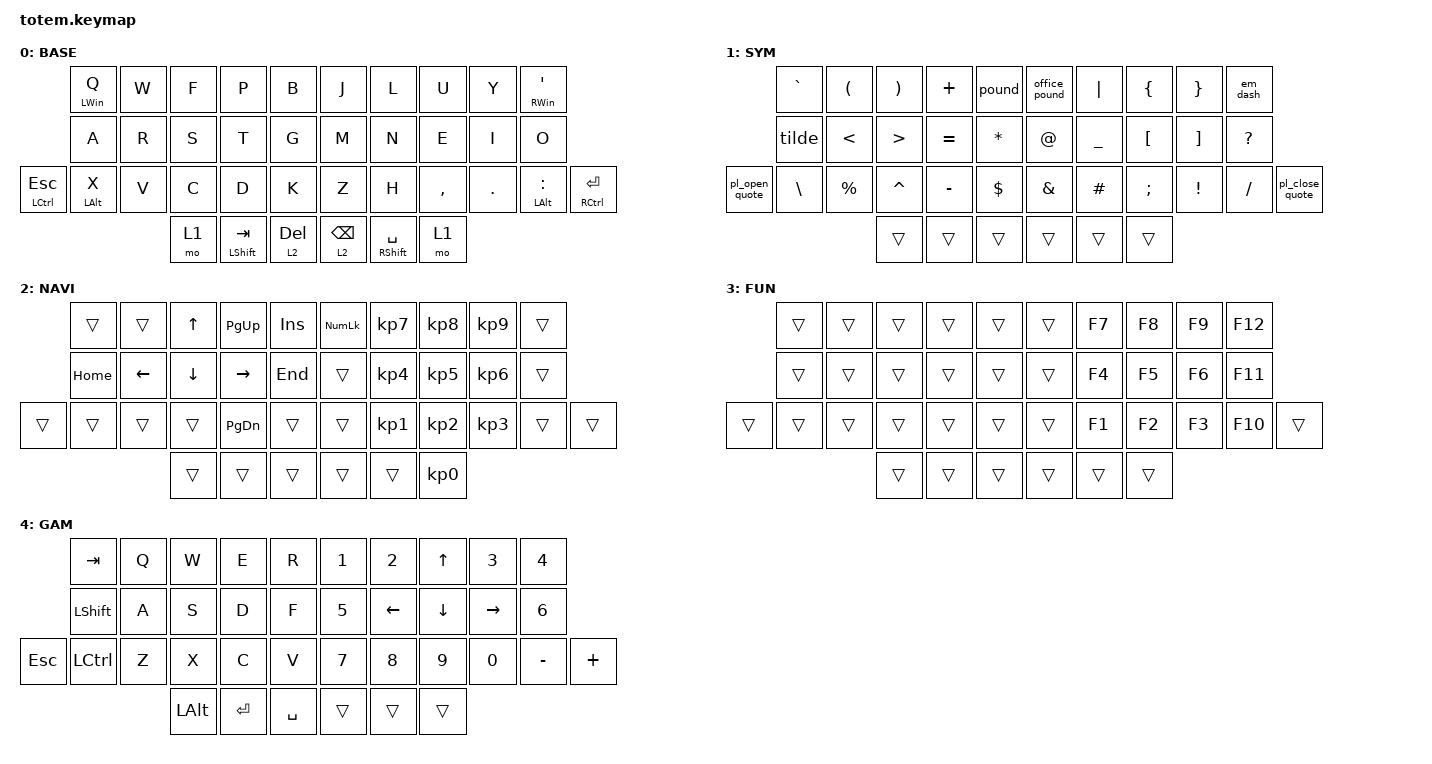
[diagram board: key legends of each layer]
//
//                                                        ▀▀▀▀▀     ▀▀▀▀▀          ▀▀█▀▀
//                                                        ▄▀▀▀▄  ▄  ▄▀▀▀▄  ▄  ▄▀▀▀▄  █  ▄▀▀▀▄
//                                                        █   █  █  █   █  █  █   █  █  █   █
//                                                         ▀▀▀   █   ▀▀▀   █   ▀▀▀   ▀   ▀▀▀
//                                                               █      ▄▄▄█▄▄▄    █   █  
//                                                               ▀      █  █  █     █▄█
//                                                             ▀▀▀▀▀    █  █  █      ▀
//                                                                      ▀  ▀  ▀
//
// ▄▄▄▄▄▄▄▄▄▄▄▄▄▄▄▄▄▄▄▄▄▄▄▄▄▄▄▄▄▄▄▄▄▄▄▄▄▄▄▄▄▄▄▄▄▄▄▄▄▄▄▄▄▄▄▄▄▄▄▄▄▄▄▄▄▄▄▄▄▄▄▄▄▄▄▄▄▄▄▄▄▄▄▄▄▄▄▄▄▄▄▄▄▄▄▄▄▄▄▄▄▄▄▄▄▄▄▄▄▄▄▄▄▄▄▄▄▄▄▄▄▄▄▄▄▄▄▄▄▄▄▄▄▄▄▄▄▄▄▄▄▄▄▄▄▄▄▄▄

#include <behaviors.dtsi>
#include <dt-bindings/zmk/keys.h>

#define BASE 0
#define NAV  1
#define SYM  2
#define ADJ  3

&mt {
    quick-tap-ms = <100>;
    global-quick-tap;
    flavor = "tap-preferred";
    tapping-term-ms = <170>;
};

/ {
    combos {
        compatible = "zmk,combos";

        combo_open_inner {
            bindings = <&pl_open_inner>;
            key-positions = <20 10>;
        };

        combo_perm_nav {
            bindings = <&tog 2>;
            key-positions = <20 21>;
            layers = <2 0 4>;
        };

        combo_print_screen {
            bindings = <&kp PRINTSCREEN>;
            key-positions = <0 1>;
        };

        combo_comment {
            bindings = <&start_com>;
            key-positions = <10 11>;
        };

        combo_end_com {
            bindings = <&end_com>;
            key-positions = <21 22>;
        };

        combo_pl_a {
            bindings = <&kp RA(A)>;
            key-positions = <1 2>;
        };

        combo_pl_z {
            bindings = <&kp RA(Z)>;
            key-positions = <11 12>;
        };

        combo_pl_x {
            bindings = <&kp RA(X)>;
            key-positions = <22 23>;
        };

        combo_f2 {
            key-positions = <2 3>;
            bindings = <&kp F2>;
        };

        combo_pl_s {
            bindings = <&kp RA(S)>;
            key-positions = <12 13>;
        };

        combo_pl_c {
            bindings = <&kp RA(C)>;
            key-positions = <23 24>;
        };

        combo_undo {
            bindings = <&kp LC(Z)>;
            key-positions = <4 3>;
        };

        combo_cut {
            bindings = <&kp LC(X)>;
            key-positions = <13 14>;
        };

        combo_copy {
            bindings = <&kp LC(C)>;
            key-positions = <24 25>;
        };

        combo_paste {
            bindings = <&kp RC(V)>;
            key-positions = <33 32>;
        };

        game_combo {
            bindings = <&tog 4>;
            key-positions = <34 33>;
        };

        combo_redo {
            bindings = <&kp LC(Y)>;
            key-positions = <5 6>;
        };

        combo_vol_up {
            bindings = <&kp C_VOL_UP>;
            key-positions = <15 16>;
        };

        combo_vol_down {
            bindings = <&kp C_VOL_DN>;
            key-positions = <26 27>;
        };

        combo_caps_lock {
            bindings = <&kp CAPS>;
            key-positions = <36 35>;
        };

        combo_pl_l {
            bindings = <&kp RA(L)>;
            key-positions = <17 16>;
        };

        combo_pl_n {
            bindings = <&kp RA(N)>;
            key-positions = <28 27>;
            layers = <0>;
        };

        combo_nav_comma {
            bindings = <&kp COMMA>;
            key-positions = <28 27>;
            layers = <2>;
        };

        combo_pl_e {
            bindings = <&kp RA(E)>;
            key-positions = <7 8>;
        };

        combo_pl_o {
            bindings = <&kp RA(O)>;
            key-positions = <17 18>;
        };

        combo_dots {
            bindings = <&pl_dots>;
            key-positions = <28 29>;
            layers = <0>;
        };

        combo_nav_dot {
            bindings = <&kp PERIOD>;
            key-positions = <28 29>;
            layers = <2>;
        };

        combo_play {
            bindings = <&kp C_PLAY>;
            key-positions = <31 30>;
            layers = <0 4 2>;
        };

        combo_prev {
            bindings = <&kp C_PREV>;
            key-positions = <28 29>;
            layers = <0 4>;
        };

        combo_next {
            bindings = <&kp C_NEXT>;
            key-positions = <29 30>;
        };

        combo_close_inner {
            bindings = <&pl_close_inner>;
            key-positions = <31 19>;
        };

        combo_caps_word {
            bindings = <&caps_word>;
            key-positions = <33 36>;
        };
    };

    macros {
        em_dash: em_dash {
            compatible = "zmk,behavior-macro";
            #binding-cells = <0>;
            bindings =
                <&macro_press>,
                <&kp LEFT_ALT>,
                <&macro_tap>,
                <&kp KP_NUMBER_0 &kp KP_NUMBER_1 &kp KP_NUMBER_5 &kp KP_NUMBER_1>,
                <&macro_release>,
                <&kp LEFT_ALT>;

            label = "EM_DASH";
        };

        pound: the_pound {
            compatible = "zmk,behavior-macro";
            #binding-cells = <0>;
            bindings =
                <&macro_press>,
                <&kp LEFT_ALT>,
                <&macro_tap>,
                <&kp KP_NUMBER_1 &kp KP_NUMBER_5 &kp KP_NUMBER_6>,
                <&macro_release>,
                <&kp LEFT_ALT>;

            label = "THE_POUND";
        };

        tilde: tilde {
            compatible = "zmk,behavior-macro";
            #binding-cells = <0>;
            bindings = <&kp TILDE &kp SPACE>;
            label = "TILDE";
        };

        start_com: start_com {
            compatible = "zmk,behavior-macro";
            #binding-cells = <0>;
            bindings = <&kp MINUS &kp MINUS &kp LBKT &kp LBKT>;
            label = "START_COM";
        };

        end_com: end_com {
            compatible = "zmk,behavior-macro";
            #binding-cells = <0>;
            bindings = <&kp MINUS &kp MINUS &kp RBKT &kp RBKT>;
            label = "END_COM";
        };

        office_pound: office_pound {
            compatible = "zmk,behavior-macro";
            #binding-cells = <0>;
            bindings = <&kp N0 &kp N0 &kp A &kp NUMBER_3 &kp LA(X)>;
            label = "OFFICE_POUND";
        };

        pl_open_quote: pl_open_quote {
            compatible = "zmk,behavior-macro";
            #binding-cells = <0>;
            bindings =
                <&macro_press>,
                <&kp LEFT_ALT>,
                <&macro_tap>,
                <&kp KP_NUMBER_0 &kp KP_NUMBER_1 &kp KP_NUMBER_3 &kp KP_NUMBER_2>,
                <&macro_release>,
                <&kp LEFT_ALT>;

            label = "PL_OPEN_QUOTE";
        };

        pl_close_quote: pl_close_quote {
            compatible = "zmk,behavior-macro";
            #binding-cells = <0>;
            bindings =
                <&macro_press>,
                <&kp LEFT_ALT>,
                <&macro_tap>,
                <&kp KP_NUMBER_0 &kp KP_NUMBER_1 &kp KP_NUMBER_4 &kp KP_NUMBER_8>,
                <&macro_release>,
                <&kp LEFT_ALT>;

            label = "PL_CLOSE_QUOTE";
        };

        pl_open_inner: pl_open_inner {
            compatible = "zmk,behavior-macro";
            #binding-cells = <0>;
            bindings =
                <&macro_press>,
                <&kp LEFT_ALT>,
                <&macro_tap>,
                <&kp KP_NUMBER_0 &kp KP_NUMBER_1 &kp KP_NUMBER_7 &kp KP_NUMBER_1>,
                <&macro_release>,
                <&kp LEFT_ALT>;

            label = "PL_OPEN_INNER";
        };

        pl_close_inner: pl_close_inner {
            compatible = "zmk,behavior-macro";
            #binding-cells = <0>;
            bindings =
                <&macro_press>,
                <&kp LEFT_ALT>,
                <&macro_tap>,
                <&kp KP_NUMBER_0 &kp KP_NUMBER_1 &kp KP_NUMBER_8 &kp KP_NUMBER_7>,
                <&macro_release>,
                <&kp LEFT_ALT>;

            label = "PL_CLOSE_INNER";
        };

        pl_dots: pl_dots {
            compatible = "zmk,behavior-macro";
            #binding-cells = <0>;
            bindings =
                <&macro_press>,
                <&kp LEFT_ALT>,
                <&macro_tap>,
                <&kp KP_NUMBER_0 &kp KP_NUMBER_1 &kp KP_NUMBER_3 &kp KP_NUMBER_3>,
                <&macro_release>,
                <&kp LEFT_ALT>;

            label = "PL_DOTS";
        };
    };

    keymap {
        compatible = "zmk,keymap";

        // ▄▄▄▄▄▄▄▄▄▄▄▄▄▄▄▄▄▄▄▄▄▄▄▄▄▄▄▄▄▄▄▄▄▄▄▄▄▄▄▄▄▄▄▄▄▄▄▄▄▄▄▄▄▄▄▄▄▄▄▄▄▄▄▄▄▄▄▄▄▄▄▄▄▄▄▄▄▄▄▄▄▄▄▄▄▄▄▄▄▄▄▄▄▄▄▄▄▄▄▄▄▄▄▄▄▄▄▄▄▄▄▄▄▄▄▄▄▄▄▄▄▄▄▄▄▄▄▄▄▄▄▄▄▄▄▄▄▄▄▄▄▄▄▄▄▄▄▄▄

        base_layer {
            // ┏━━━━━━━━━━━━━━━━━━━━━━━━━━━━━━━━━━━━━━━┓

            label = "BASE";

            // ┗━━━━━━━━━━━━━━━━━━━━━━━━━━━━━━━━━━━━━━━┛
            //             ┏━━━━━━━━━━━┳━━━━━━━━━━━┳━━━━━━━━━━━┳━━━━━━━━━━━┳━━━━━━━━━━━┓   ┏━━━━━━━━━━━┳━━━━━━━━━━━┳━━━━━━━━━━━┳━━━━━━━━━━━┳━━━━━━━━━━━┓
            //             ┃     Q     ┃     W     ┃     F     ┃     P     ┃     B     ┃   ┃     J     ┃     L     ┃     U     ┃     Y     ┃     '     ┃
            //             ┣━━━━━━━━━━━╋━━━━━━━━━━━╋━━━━━━━━━━━╋━━━━━━━━━━━╋━━━━━━━━━━━┫   ┣━━━━━━━━━━━╋━━━━━━━━━━━╋━━━━━━━━━━━╋━━━━━━━━━━━╋━━━━━━━━━━━┫
            //             ┃     A     ┃     R     ┃     S     ┃     T     ┃     G     ┃   ┃     M     ┃     N     ┃     E     ┃     I     ┃     O     ┃
            // ┏━━━━━━━━━━━╋━━━━━━━━━━━╋━━━━━━━━━━━╋━━━━━━━━━━━╋━━━━━━━━━━━╋━━━━━━━━━━━┫   ┣━━━━━━━━━━━╋━━━━━━━━━━━╋━━━━━━━━━━━╋━━━━━━━━━━━╋━━━━━━━━━━━╋━━━━━━━━━━━┓
            // ┃    ESC    ┃     X     ┃     V     ┃     C     ┃     D     ┃     K     ┃   ┃     Z     ┃     H     ┃     ,     ┃     .     ┃     :     ┃   ENTER   ┃
            // ┗━━━━━━━━━━━┻━━━━━━━━━━━┻━━━━━━━━━━━╋━━━━━━━━━━━╋━━━━━━━━━━━╋━━━━━━━━━━━┫   ┣━━━━━━━━━━━╋━━━━━━━━━━━╋━━━━━━━━━━━╋━━━━━━━━━━━┻━━━━━━━━━━━┻━━━━━━━━━━━┛
            //                                     ┃    SYM    ┃    TAB    ┃    DEL    ┃   ┃   BKSPC   ┃   SPACE   ┃    SYM    ┃
            //                                     ┗━━━━━━━━━━━┻━━━━━━━━━━━┻━━━━━━━━━━━┛   ┗━━━━━━━━━━━┻━━━━━━━━━━━┻━━━━━━━━━━━┛

            bindings = <
                         &mt LEFT_WIN Q  &kp W  &kp F  &kp P               &kp B           &kp J            &kp L                  &kp U      &kp Y    &mt RIGHT_WIN APOS
                         &kp A           &kp R  &kp S  &kp T               &kp G           &kp M            &kp N                  &kp E      &kp I    &kp O
&mt LEFT_CONTROL ESCAPE  &mt LEFT_ALT X  &kp V  &kp C  &kp D               &kp K           &kp Z            &kp H                  &kp COMMA  &kp DOT  &mt LEFT_ALT COLON  &mt RIGHT_CONTROL RET
                                                &mo 1  &mt LEFT_SHIFT TAB  &lt 2 DELETE    &lt 2 BACKSPACE  &mt RIGHT_SHIFT SPACE  &mo 1
            >;
        };

        sym_layer {
            // ┏━━━━━━━━━━━━━━━━━━━━━━━━━━━━━━━━━━━━━━━┓

            label = "SYM";

            // ┗━━━━━━━━━━━━━━━━━━━━━━━━━━━━━━━━━━━━━━━┛
            //             ┏━━━━━━━━━━━┳━━━━━━━━━━━┳━━━━━━━━━━━┳━━━━━━━━━━━┳━━━━━━━━━━━┓   ┏━━━━━━━━━━━┳━━━━━━━━━━━┳━━━━━━━━━━━┳━━━━━━━━━━━┳━━━━━━━━━━━┓
            //             ┃     `     ┃     (     ┃     )     ┃     +     ┃     £     ┃   ┃     £     ┃     |     ┃     {     ┃     }     ┃     —     ┃
            //             ┣━━━━━━━━━━━╋━━━━━━━━━━━╋━━━━━━━━━━━╋━━━━━━━━━━━╋━━━━━━━━━━━┫   ┣━━━━━━━━━━━╋━━━━━━━━━━━╋━━━━━━━━━━━╋━━━━━━━━━━━╋━━━━━━━━━━━┫
            //             ┃     ~     ┃     <     ┃     >     ┃     =     ┃     *     ┃   ┃     @     ┃     _     ┃     [     ┃     ]     ┃     ?     ┃
            // ┏━━━━━━━━━━━╋━━━━━━━━━━━╋━━━━━━━━━━━╋━━━━━━━━━━━╋━━━━━━━━━━━╋━━━━━━━━━━━┫   ┣━━━━━━━━━━━╋━━━━━━━━━━━╋━━━━━━━━━━━╋━━━━━━━━━━━╋━━━━━━━━━━━╋━━━━━━━━━━━┓
            // ┃     „     ┃     \     ┃     %     ┃     ^     ┃     -     ┃     $     ┃   ┃     &     ┃     #     ┃     ;     ┃     !     ┃     /     ┃     ”     ┃
            // ┗━━━━━━━━━━━┻━━━━━━━━━━━┻━━━━━━━━━━━╋━━━━━━━━━━━╋━━━━━━━━━━━╋━━━━━━━━━━━┫   ┣━━━━━━━━━━━╋━━━━━━━━━━━╋━━━━━━━━━━━╋━━━━━━━━━━━┻━━━━━━━━━━━┻━━━━━━━━━━━┛
            //                                     ┃           ┃           ┃           ┃   ┃           ┃           ┃           ┃
            //                                     ┗━━━━━━━━━━━┻━━━━━━━━━━━┻━━━━━━━━━━━┛   ┗━━━━━━━━━━━┻━━━━━━━━━━━┻━━━━━━━━━━━┛

            bindings = <
                &kp GRAVE  &kp LEFT_PARENTHESIS  &kp RIGHT_PARENTHESIS  &kp PLUS   &pound          &office_pound  &kp PIPE        &kp LEFT_BRACE  &kp RIGHT_BRACE  &em_dash
                &tilde     &kp LESS_THAN         &kp GREATER_THAN       &kp EQUAL  &kp ASTERISK    &kp AT_SIGN    &kp UNDERSCORE  &kp LBKT        &kp RBKT         &kp QUESTION
&pl_open_quote  &kp BSLH   &kp PERCENT           &kp CARET              &kp MINUS  &kp DOLLAR      &kp AMPS       &kp HASH        &kp SEMI        &kp EXCL         &kp FSLH      &pl_close_quote
                                                 &trans                 &trans     &trans          &trans         &trans          &trans
            >;
        };

        nav_layer {
            // ┏━━━━━━━━━━━━━━━━━━━━━━━━━━━━━━━━━━━━━━━┓

            label = "NAVI";

            // ┗━━━━━━━━━━━━━━━━━━━━━━━━━━━━━━━━━━━━━━━┛
            //             ┏━━━━━━━━━━━┳━━━━━━━━━━━┳━━━━━━━━━━━┳━━━━━━━━━━━┳━━━━━━━━━━━┓   ┏━━━━━━━━━━━┳━━━━━━━━━━━┳━━━━━━━━━━━┳━━━━━━━━━━━┳━━━━━━━━━━━┓
            //             ┃           ┃           ┃     UP    ┃   P UP    ┃    INS    ┃   ┃  NUM_LCK  ┃     7     ┃     8     ┃     9     ┃           ┃
            //             ┣━━━━━━━━━━━╋━━━━━━━━━━━╋━━━━━━━━━━━╋━━━━━━━━━━━╋━━━━━━━━━━━┫   ┣━━━━━━━━━━━╋━━━━━━━━━━━╋━━━━━━━━━━━╋━━━━━━━━━━━╋━━━━━━━━━━━┫
            //             ┃   HOME    ┃   LEFT    ┃    DOWN   ┃   RIGHT   ┃    END    ┃   ┃           ┃     4     ┃     5     ┃     6     ┃           ┃
            // ┏━━━━━━━━━━━╋━━━━━━━━━━━╋━━━━━━━━━━━╋━━━━━━━━━━━╋━━━━━━━━━━━╋━━━━━━━━━━━┫   ┣━━━━━━━━━━━╋━━━━━━━━━━━╋━━━━━━━━━━━╋━━━━━━━━━━━╋━━━━━━━━━━━╋━━━━━━━━━━━┓
            // ┃           ┃           ┃           ┃           ┃  P DOWN   ┃           ┃   ┃     0     ┃     1     ┃     2     ┃     3     ┃           ┃           ┃
            // ┗━━━━━━━━━━━┻━━━━━━━━━━━┻━━━━━━━━━━━╋━━━━━━━━━━━╋━━━━━━━━━━━╋━━━━━━━━━━━┫   ┣━━━━━━━━━━━╋━━━━━━━━━━━╋━━━━━━━━━━━╋━━━━━━━━━━━┻━━━━━━━━━━━┻━━━━━━━━━━━┛
            //                                     ┃           ┃           ┃           ┃   ┃           ┃           ┃           ┃
            //                                     ┗━━━━━━━━━━━┻━━━━━━━━━━━┻━━━━━━━━━━━┛   ┗━━━━━━━━━━━┻━━━━━━━━━━━┻━━━━━━━━━━━┛

            bindings = <
        &trans    &trans    &kp UP          &kp PAGE_UP  &kp INS    &kp KP_NUMLOCK  &kp KP_N7  &kp KP_N8  &kp KP_N9  &trans
        &kp HOME  &kp LEFT  &kp DOWN_ARROW  &kp RIGHT    &kp END    &trans          &kp KP_N4  &kp KP_N5  &kp KP_N6  &trans
&trans  &trans    &trans    &trans          &kp PG_DN    &trans     &trans          &kp KP_N1  &kp KP_N2  &kp KP_N3  &trans  &trans
                            &trans          &trans       &trans     &trans          &trans     &kp KP_N0
            >;
        };

        function_layer {
            // ┏━━━━━━━━━━━━━━━━━━━━━━━━━━━━━━━━━━━━━━━┓

            label = "FUN";

            // ┗━━━━━━━━━━━━━━━━━━━━━━━━━━━━━━━━━━━━━━━┛
            //             ┏━━━━━━━━━━━┳━━━━━━━━━━━┳━━━━━━━━━━━┳━━━━━━━━━━━┳━━━━━━━━━━━┓   ┏━━━━━━━━━━━┳━━━━━━━━━━━┳━━━━━━━━━━━┳━━━━━━━━━━━┳━━━━━━━━━━━┓
            //             ┃     F2    ┃     F3    ┃     F4    ┃    F5     ┃     F6    ┃   ┃     F7    ┃     F8    ┃    F9     ┃     F10   ┃     F11   ┃
            //             ┣━━━━━━━━━━━╋━━━━━━━━━━━╋━━━━━━━━━━━╋━━━━━━━━━━━╋━━━━━━━━━━━┫   ┣━━━━━━━━━━━╋━━━━━━━━━━━╋━━━━━━━━━━━╋━━━━━━━━━━━╋━━━━━━━━━━━┫
            //             ┃           ┃           ┃           ┃           ┃           ┃   ┃           ┃           ┃           ┃           ┃           ┃
            // ┏━━━━━━━━━━━╋━━━━━━━━━━━╋━━━━━━━━━━━╋━━━━━━━━━━━╋━━━━━━━━━━━╋━━━━━━━━━━━┫   ┣━━━━━━━━━━━╋━━━━━━━━━━━╋━━━━━━━━━━━╋━━━━━━━━━━━╋━━━━━━━━━━━╋━━━━━━━━━━━┓
            // ┃    F1     ┃           ┃           ┃           ┃           ┃           ┃   ┃           ┃     0     ┃     ,     ┃     .     ┃           ┃    F12    ┃
            // ┗━━━━━━━━━━━┻━━━━━━━━━━━┻━━━━━━━━━━━╋━━━━━━━━━━━╋━━━━━━━━━━━╋━━━━━━━━━━━┫   ┣━━━━━━━━━━━╋━━━━━━━━━━━╋━━━━━━━━━━━╋━━━━━━━━━━━┻━━━━━━━━━━━┻━━━━━━━━━━━┛
            //                                     ┃           ┃           ┃           ┃   ┃           ┃           ┃           ┃
            //                                     ┗━━━━━━━━━━━┻━━━━━━━━━━━┻━━━━━━━━━━━┛   ┗━━━━━━━━━━━┻━━━━━━━━━━━┻━━━━━━━━━━━┛

            bindings = <
        &trans  &trans  &trans  &trans  &trans    &trans  &kp F7  &kp F8  &kp F9  &kp F12
        &trans  &trans  &trans  &trans  &trans    &trans  &kp F4  &kp F5  &kp F6  &kp F11
&trans  &trans  &trans  &trans  &trans  &trans    &trans  &kp F1  &kp F2  &kp F3  &kp F10  &trans
                        &trans  &trans  &trans    &trans  &trans  &trans
            >;
        };

        game_layer {
            // ┏━━━━━━━━━━━━━━━━━━━━━━━━━━━━━━━━━━━━━━━┓

            label = "GAM";

            // ┗━━━━━━━━━━━━━━━━━━━━━━━━━━━━━━━━━━━━━━━┛
            //             ┏━━━━━━━━━━━┳━━━━━━━━━━━┳━━━━━━━━━━━┳━━━━━━━━━━━┳━━━━━━━━━━━┓   ┏━━━━━━━━━━━┳━━━━━━━━━━━┳━━━━━━━━━━━┳━━━━━━━━━━━┳━━━━━━━━━━━┓
            //             ┃    TAB    ┃     Q     ┃     W     ┃     E     ┃     R     ┃   ┃     1     ┃     2     ┃    UP     ┃     3     ┃     4     ┃
            //             ┣━━━━━━━━━━━╋━━━━━━━━━━━╋━━━━━━━━━━━╋━━━━━━━━━━━╋━━━━━━━━━━━┫   ┣━━━━━━━━━━━╋━━━━━━━━━━━╋━━━━━━━━━━━╋━━━━━━━━━━━╋━━━━━━━━━━━┫
            //             ┃   SHIFT   ┃     A     ┃     S     ┃     D     ┃     F     ┃   ┃     5     ┃   LEFT    ┃   DOWN    ┃   RIGHT   ┃     6     ┃
            // ┏━━━━━━━━━━━╋━━━━━━━━━━━╋━━━━━━━━━━━╋━━━━━━━━━━━╋━━━━━━━━━━━╋━━━━━━━━━━━┫   ┣━━━━━━━━━━━╋━━━━━━━━━━━╋━━━━━━━━━━━╋━━━━━━━━━━━╋━━━━━━━━━━━╋━━━━━━━━━━━┓
            // ┃   ESC     ┃   CTRL    ┃     Z     ┃     X     ┃     C     ┃     V     ┃   ┃     7     ┃     8     ┃     9     ┃     0     ┃     -     ┃     +     ┃
            // ┗━━━━━━━━━━━┻━━━━━━━━━━━┻━━━━━━━━━━━╋━━━━━━━━━━━╋━━━━━━━━━━━╋━━━━━━━━━━━┫   ┣━━━━━━━━━━━╋━━━━━━━━━━━╋━━━━━━━━━━━╋━━━━━━━━━━━┻━━━━━━━━━━━┻━━━━━━━━━━━┛
            //                                     ┃    ALT    ┃   ENTER   ┃   SPACE   ┃   ┃           ┃           ┃           ┃
            //                                     ┗━━━━━━━━━━━┻━━━━━━━━━━━┻━━━━━━━━━━━┛   ┗━━━━━━━━━━━┻━━━━━━━━━━━┻━━━━━━━━━━━┛

            bindings = <
         &kp TAB    &kp Q  &kp W     &kp E    &kp R        &kp NUMBER_1  &kp NUMBER_2    &kp UP_ARROW    &kp NUMBER_3  &kp NUMBER_4
         &kp LSHFT  &kp A  &kp S     &kp D    &kp F        &kp N5        &kp LEFT_ARROW  &kp DOWN_ARROW  &kp RIGHT     &kp NUMBER_6
&kp ESC  &kp LCTRL  &kp Z  &kp X     &kp C    &kp V        &kp N7        &kp N8          &kp N9          &kp N0        &kp MINUS     &kp PLUS
                           &kp LALT  &kp RET  &kp SPACE    &trans        &trans          &trans
            >;
        };
    };

    conditional_layers {
        compatible = "zmk,conditional-layers";

        both_layers {
            if-layers = <1 2>;
            then-layer = <3>;
        };
    };
};
